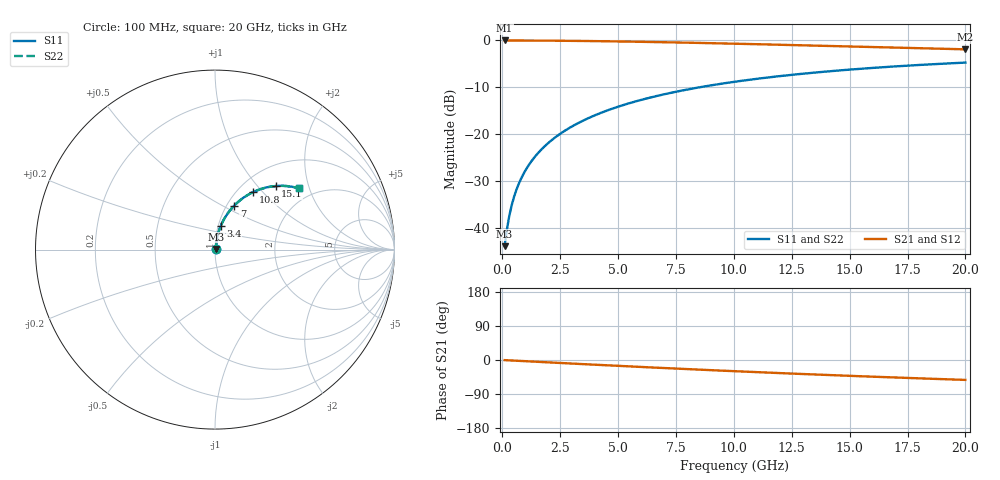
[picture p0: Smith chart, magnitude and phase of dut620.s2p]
! Touchstone file exported from HFSS 2026.1.0
!  File:  C:/ffzhzh/LocalFiles/Ansys_Project_Files/temp_train_TMRDL_620_1783008954_53980.aedt
!  Generated:  12:17:35 AM Jul  3, 2026
!  Design:  TMRDL
!  Project:  temp_train_TMRDL_620_1783008954_53980
! Variables:
!  h_bsmrdl = 2um
!  h_ox = 20um
!  h_rdl = 5um
!  h_sub = 80um
!  h_tmrdl = 4.81um
!  h_tsv = 80um
!  h_via = 3um
!  l_bsmrdl = 300um
!  l_sub = 1118.27um
!  l_tmrdl = 718.27um
!  m_sub = 200um
!  pitch = 52.08um
!  r_tsv = 6um
!  s_tmrdl = 10um
!  w_bsmrdl = 18um
!  w_sub = 500um
!  w_tmrdl = 10.67um
!  x_tsv_center1 = 723.605um
!  x_tsv_center2 = 1041.605um
!  x_tsv_center3 = 1770.545um
!  x_tsv_center4 = 2088.545um
!  x_tsv_center5 = 2817.485um
!  x_tsv_center6 = 3135.485um
# GHz S MA R 50.000000
! Terminal data exported
! Port[1] = TM_RDL1_1_T1
! Port[2] = TM_RDL1_1_T2
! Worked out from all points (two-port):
!   200 points, 100 MHz to 20 GHz, reference 50 ohm
!   highest |S21| = -0.04 dB at 100 MHz (marker M1); lowest = -1.9 dB at 20 GHz (marker M2)
!   |S21| within 3 dB of the highest: start of sweep to end of sweep
!   lowest |S11| = -43.8 dB at 100 MHz (marker M3), VSWR 1.01, Z = 50.5 + j0.422 ohm
!   |S11| at or under -10 dB: start of sweep to 8.512 GHz
!   |S22| runs from -43.8 to -4.7 dB; largest |S21 - S12| = 1.5e-14
!   S11 on the Smith chart (normalised r, x): 100 MHz: 1.01, +0.01; 3.4 GHz: 1.03, +0.28; 7 GHz: 1.08, +0.57; 10.8 GHz: 1.18, +0.89; 15.1 GHz: 1.35, +1.26; 20 GHz: 1.66, +1.71
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0.1  0.006489 40.0  0.995 -0.3  0.995 -0.3  0.006489 40.0
! Gamma 0 0 0 0
! Port Impedance 50 0 50 0
0.2  0.009765 58.5  0.995 -0.6  0.995 -0.6  0.009765 58.5
0.3  0.01353 66.9  0.9948 -1.0  0.9948 -1.0  0.01353 66.9
0.4  0.01744 71.5  0.9947 -1.3  0.9947 -1.3  0.01744 71.4
0.5  0.0214 74.2  0.9945 -1.6  0.9945 -1.6  0.0214 74.2
0.6  0.02539 76.0  0.9944 -1.9  0.9944 -1.9  0.02539 76.0
0.8  0.03341 78.0  0.994 -2.5  0.994 -2.5  0.03341 78.0
1.1  0.04546 79.4  0.9933 -3.5  0.9933 -3.5  0.04546 79.4
1.5  0.06154 79.8  0.9922 -4.7  0.9922 -4.7  0.06154 79.8
2  0.08156 79.3  0.9905 -6.3  0.9905 -6.3  0.08156 79.3
2.6  0.1054 78.2  0.9878 -8.2  0.9878 -8.2  0.1054 78.2
3.4  0.1366 76.3  0.9833 -10.6  0.9833 -10.6  0.1366 76.3
3.5  0.1404 76.0  0.9827 -10.9  0.9827 -10.9  0.1404 76.0
5  0.1967 72.0  0.9716 -15.5  0.9716 -15.5  0.1967 71.9
6.8  0.2603 67.0  0.955 -20.7  0.955 -20.7  0.2603 67.0
7  0.267 66.5  0.953 -21.3  0.953 -21.3  0.267 66.4
10.1  0.3641 58.3  0.9187 -29.7  0.9187 -29.7  0.3641 58.3
10.8  0.384 56.5  0.9104 -31.6  0.9104 -31.6  0.384 56.5
13.4  0.4512 50.2  0.8786 -38.0  0.8786 -38.0  0.4512 50.2
15.1  0.4898 46.3  0.8577 -42.0  0.8577 -42.0  0.4898 46.3
16.7  0.5223 42.8  0.8384 -45.6  0.8384 -45.6  0.5223 42.8
20  0.579 36.1  0.8009 -52.5  0.8009 -52.5  0.579 36.1
